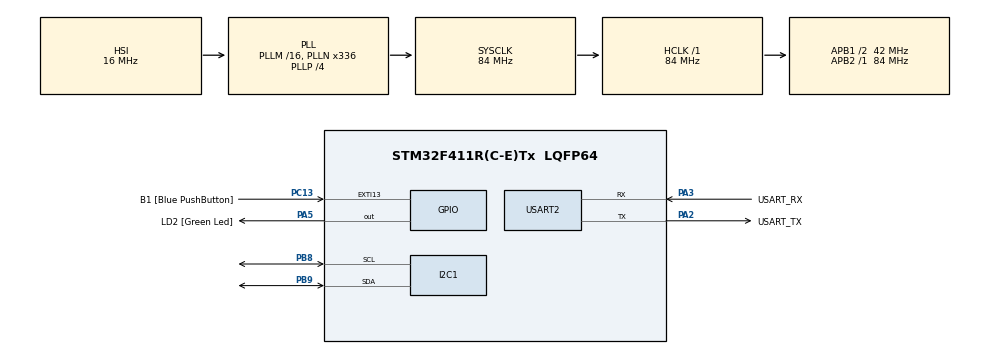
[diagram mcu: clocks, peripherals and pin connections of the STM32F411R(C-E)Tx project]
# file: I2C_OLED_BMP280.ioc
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Mcu.Family=STM32F4
PC15-OSC32_OUT.Mode=LSE-External-Oscillator
Dma.I2C1_TX.0.Instance=DMA1_Stream1
RCC.CortexFreq_Value=84000000
NVIC.I2C1_EV_IRQn=true\:0\:0\:false\:true\:true\:1\:true\:true
Dma.I2C1_TX.0.PeriphDataAlignment=DMA_PDATAALIGN_BYTE
PC13-ANTI_TAMP.GPIO_Label=B1 [Blue PushButton]
Dma.I2C1_TX.0.Direction=DMA_MEMORY_TO_PERIPH
PA14.GPIO_Label=TCK
PH1\ -\ OSC_OUT.Mode=HSE-External-Clock-Source
NVIC.DMA1_Stream1_IRQn=true\:0\:0\:false\:true\:true\:2\:false\:true
RCC.APB1CLKDivider=RCC_HCLK_DIV2
PC14-OSC32_IN.Signal=RCC_OSC32_IN
RCC.SYSCLKSource=RCC_SYSCLKSOURCE_PLLCLK
ProjectManager.StackSize=0x400
PA3.Mode=Asynchronous
PA13.Signal=SYS_JTMS-SWDIO
PH0\ -\ OSC_IN.Mode=HSE-External-Clock-Source
PH0\ -\ OSC_IN.Signal=RCC_OSC_IN
ProjectManager.TargetToolchain=STM32CubeIDE
I2C1.I2C_Mode=I2C_Fast
RCC.HCLKFreq_Value=84000000
PB9.Mode=I2C
RCC.APB2TimFreq_Value=84000000
Dma.I2C1_TX.0.Priority=DMA_PRIORITY_LOW
PC15-OSC32_OUT.Signal=RCC_OSC32_OUT
RCC.AHBFreq_Value=84000000
PA5.Signal=GPIO_Output
RCC.HSE_VALUE=8000000
PH1\ -\ OSC_OUT.Signal=RCC_OSC_OUT
board=NUCLEO-F411RE
PC13-ANTI_TAMP.Signal=GPXTI13
RCC.VCOOutputFreq_Value=336000000
RCC.APB2Freq_Value=84000000
PC14-OSC32_IN.Mode=LSE-External-Oscillator
PA14.Mode=Serial_Wire
Dma.I2C1_TX.0.MemInc=DMA_MINC_ENABLE
PA13.Mode=Serial_Wire
Mcu.Name=STM32F411R(C-E)Tx
PA2.Signal=USART2_TX
PA13.GPIO_Label=TMS
RCC.FLatency-AdvancedSettings=FLASH_LATENCY_2
RCC.48MHZClocksFreq_Value=84000000
PB3.Signal=SYS_JTDO-SWO
RCC.SYSCLKFreq_VALUE=84000000
Dma.I2C1_TX.0.PeriphInc=DMA_PINC_DISABLE
Mcu.Package=LQFP64
PB9.Signal=I2C1_SDA
PA5.GPIO_Label=LD2 [Green Led]
USART2.VirtualMode=VM_ASYNC
PC13-ANTI_TAMP.GPIO_ModeDefaultEXTI=GPIO_MODE_IT_FALLING
PA2.GPIO_Label=USART_TX
PA14.Signal=SYS_JTCK-SWCLK
ProjectManager.HeapSize=0x200
Dma.I2C1_TX.0.MemDataAlignment=DMA_MDATAALIGN_BYTE
RCC.HSI_VALUE=16000000
RCC.PLLP=RCC_PLLP_DIV4
NVIC.PriorityGroup=NVIC_PRIORITYGROUP_0
Dma.I2C1_TX.0.FIFOMode=DMA_FIFOMODE_DISABLE
PB8.Mode=I2C
RCC.PLLN=336
RCC.APB1TimFreq_Value=84000000
PA2.Mode=Asynchronous
PB8.Signal=I2C1_SCL
Dma.I2C1_TX.0.Mode=DMA_NORMAL
Dma.Request0=I2C1_TX
RCC.APB1Freq_Value=42000000
PA3.GPIO_Label=USART_RX
PA3.Signal=USART2_RX
PB3.GPIO_Label=SWO

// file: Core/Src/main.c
/* USER CODE BEGIN Header */
/**
  ******************************************************************************
  * @file           : main.c
  * @brief          : Main program body
  ******************************************************************************
  * @attention
  *
  * <h2><center>&copy; Copyright (c) 2021 STMicroelectronics.
  * All rights reserved.</center></h2>
  *
  * This software component is licensed by ST under BSD 3-Clause license,
  * the "License"; You may not use this file except in compliance with the
  * License. You may obtain a copy of the License at:
  *                        opensource.org/licenses/BSD-3-Clause
  *
  ******************************************************************************
  */
/* USER CODE END Header */
#include "main.h"
#include "dma.h"
#include "i2c.h"
#include "usart.h"
#include "gpio.h"

/* USER CODE BEGIN Includes */
#include "bmp280.h"
#include "SSD1306.h"
#include "GFX_BW.h"
#include "fonts/fonts.h"
#include "fonts/font_8x5.h"
#include "stdio.h"
/* USER CODE END Includes */

/* USER CODE BEGIN PD */
#define BMP280_ADDRESS 0x76
/* USER CODE END PD */

/* USER CODE BEGIN PV */

//
// BMP280
//
BMP280_t Bmp280;
float Temp, Press;
char Buffer[32];
uint32_t SoftTimer_BMP;

//
// OLED
//
uint32_t SoftTimer_OLED;

/* USER CODE END PV */

void SystemClock_Config(void);
static void MX_NVIC_Init(void);

int main(void)
{

  /* MCU Configuration--------------------------------------------------------*/

  /* Reset of all peripherals, Initializes the Flash interface and the Systick. */
  HAL_Init();

  /* Configure the system clock */
  SystemClock_Config();

  /* Initialize all configured peripherals */
  MX_GPIO_Init();
  MX_DMA_Init();
  MX_USART2_UART_Init();
  MX_I2C1_Init();

  /* Initialize interrupts */
  MX_NVIC_Init();
  /* USER CODE BEGIN 2 */
  BMP280_Init(&Bmp280, &hi2c1, BMP280_ADDRESS);
  SSD1306_Init(&hi2c1);

  GFX_SetFont(font_8x5);

  SoftTimer_BMP = HAL_GetTick();
  SoftTimer_OLED = HAL_GetTick();
  /* USER CODE END 2 */

  /* Infinite loop */
  /* USER CODE BEGIN WHILE */
  while (1)
  {

  //
  // BMP280
  //
	if(HAL_GetTick() - SoftTimer_BMP > 10)
	{
		SoftTimer_BMP = HAL_GetTick();

		if(Bmp280.bmp_i2c->State == HAL_I2C_STATE_READY)
		{
			BMP280_ReadPressureAndTemperature(&Bmp280, &Press, &Temp);
		}

	}

  //
  // OLED
  //

	if(HAL_GetTick() - SoftTimer_OLED > 100)
	{
		SoftTimer_OLED = HAL_GetTick();

		sprintf(Buffer, "Cisnienie: %.2f", Press);
		GFX_DrawString(2, 2, Buffer, WHITE, 0);

		sprintf(Buffer, "Temperatura: %.2f", Temp);
		GFX_DrawString(2, 12, Buffer, WHITE, 0);

		SSD1306_Display();
	}

    /* USER CODE END WHILE */

  }
}

void SystemClock_Config(void)
{
  RCC_OscInitTypeDef RCC_OscInitStruct = {0};
  RCC_ClkInitTypeDef RCC_ClkInitStruct = {0};

  /** Configure the main internal regulator output voltage
  */
  __HAL_RCC_PWR_CLK_ENABLE();
  __HAL_PWR_VOLTAGESCALING_CONFIG(PWR_REGULATOR_VOLTAGE_SCALE1);
  /** Initializes the RCC Oscillators according to the specified parameters
  * in the RCC_OscInitTypeDef structure.
  */
  RCC_OscInitStruct.OscillatorType = RCC_OSCILLATORTYPE_HSI;
  RCC_OscInitStruct.HSIState = RCC_HSI_ON;
  RCC_OscInitStruct.HSICalibrationValue = RCC_HSICALIBRATION_DEFAULT;
  RCC_OscInitStruct.PLL.PLLState = RCC_PLL_ON;
  RCC_OscInitStruct.PLL.PLLSource = RCC_PLLSOURCE_HSI;
  RCC_OscInitStruct.PLL.PLLM = 16;
  RCC_OscInitStruct.PLL.PLLN = 336;
  RCC_OscInitStruct.PLL.PLLP = RCC_PLLP_DIV4;
  RCC_OscInitStruct.PLL.PLLQ = 4;
  if (HAL_RCC_OscConfig(&RCC_OscInitStruct) != HAL_OK)
  {
    Error_Handler();
  }
  /** Initializes the CPU, AHB and APB buses clocks
  */
  RCC_ClkInitStruct.ClockType = RCC_CLOCKTYPE_HCLK|RCC_CLOCKTYPE_SYSCLK
                              |RCC_CLOCKTYPE_PCLK1|RCC_CLOCKTYPE_PCLK2;
  RCC_ClkInitStruct.SYSCLKSource = RCC_SYSCLKSOURCE_PLLCLK;
  RCC_ClkInitStruct.AHBCLKDivider = RCC_SYSCLK_DIV1;
  RCC_ClkInitStruct.APB1CLKDivider = RCC_HCLK_DIV2;
  RCC_ClkInitStruct.APB2CLKDivider = RCC_HCLK_DIV1;

  if (HAL_RCC_ClockConfig(&RCC_ClkInitStruct, FLASH_LATENCY_2) != HAL_OK)
  {
    Error_Handler();
  }
}

/**
  * @brief NVIC Configuration.
  * @retval None
  */
static void MX_NVIC_Init(void)
{
  /* I2C1_EV_IRQn interrupt configuration */
  HAL_NVIC_SetPriority(I2C1_EV_IRQn, 0, 0);
  HAL_NVIC_EnableIRQ(I2C1_EV_IRQn);
  /* DMA1_Stream1_IRQn interrupt configuration */
  HAL_NVIC_SetPriority(DMA1_Stream1_IRQn, 0, 0);
  HAL_NVIC_EnableIRQ(DMA1_Stream1_IRQn);
}

void Error_Handler(void)
{
  __disable_irq();
  while (1)
  {
  }
}

/************************ (C) COPYRIGHT STMicroelectronics *****END OF FILE****/
